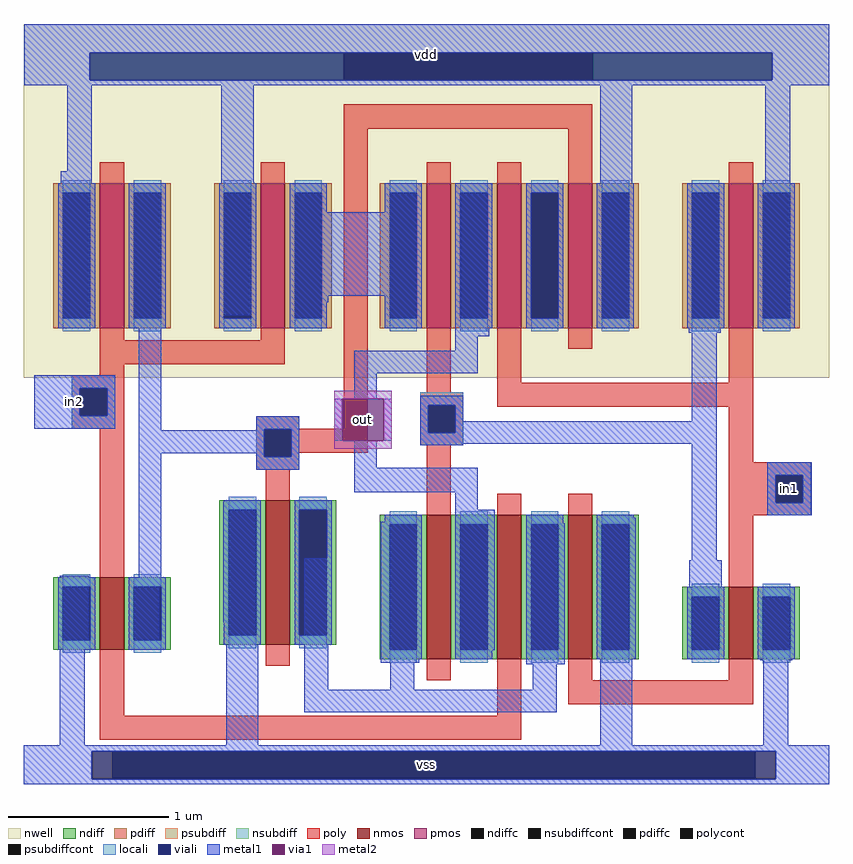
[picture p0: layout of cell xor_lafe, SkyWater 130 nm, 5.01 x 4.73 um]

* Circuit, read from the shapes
.subckt xor_lafe in1 in2 out vdd vss
XM1 n1 in2 vss vss sky130_fd_pr__nfet_01v8 w=0.45 l=0.15
XM2 n2 n1 vss vss sky130_fd_pr__nfet_01v8 w=0.9 l=0.15
XM3 out n3 n2 vss sky130_fd_pr__nfet_01v8 w=0.9 l=0.15
XM4 n2 in2 out vss sky130_fd_pr__nfet_01v8 w=0.9 l=0.15
XM5 vss in1 n2 vss sky130_fd_pr__nfet_01v8 w=0.9 l=0.15
XM6 vss in1 n3 vss sky130_fd_pr__nfet_01v8 w=0.45 l=0.15
XM7 n1 in2 vdd vdd sky130_fd_pr__pfet_01v8 w=0.9 l=0.15
XM8 n4 in2 vdd vdd sky130_fd_pr__pfet_01v8 w=0.9 l=0.15
XM9 out n3 n4 vdd sky130_fd_pr__pfet_01v8 w=0.9 l=0.15
XM10 n5 in1 out vdd sky130_fd_pr__pfet_01v8 w=0.9 l=0.15
XM11 vdd n1 n5 vdd sky130_fd_pr__pfet_01v8 w=0.9 l=0.15
XM12 vdd in1 n3 vdd sky130_fd_pr__pfet_01v8 w=0.9 l=0.15
.ends

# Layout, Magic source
magic
tech sky130A
magscale 1 2
<< nwell >>
rect -354 820 647 821
rect -355 384 647 820
rect -355 381 -354 384
rect -342 381 647 384
<< psubdiff >>
rect -269 -117 -245 -83
rect 555 -117 579 -83
<< nsubdiff >>
rect -273 751 43 785
rect 353 751 576 785
<< psubdiffcont >>
rect -245 -117 555 -83
<< nsubdiffcont >>
rect 43 751 353 785
<< poly >>
rect 43 691 352 721
rect -260 428 -230 649
rect -60 428 -30 649
rect -260 398 -30 428
rect -260 384 -230 398
rect -295 368 -230 384
rect -295 334 -285 368
rect -251 334 -230 368
rect -295 318 -230 334
rect -260 -39 -230 318
rect -66 318 -12 333
rect 43 318 73 691
rect 146 363 176 649
rect 234 375 264 649
rect 322 417 352 691
rect 522 375 552 649
rect -66 317 73 318
rect -66 283 -56 317
rect -22 288 73 317
rect 138 347 192 363
rect 138 313 148 347
rect 182 313 192 347
rect 234 345 552 375
rect 138 297 192 313
rect -22 283 -12 288
rect -66 267 -12 283
rect -54 23 -24 267
rect 146 5 176 297
rect 522 276 552 345
rect 522 260 624 276
rect 234 -39 264 237
rect 322 5 352 237
rect 522 226 580 260
rect 614 226 624 260
rect 522 210 624 226
rect 522 5 552 210
rect 322 -25 552 5
rect -260 -69 264 -39
<< polycont >>
rect -285 334 -251 368
rect -56 283 -22 317
rect 148 313 182 347
rect 580 226 614 260
<< locali >>
rect -295 368 -241 384
rect -295 334 -285 368
rect -251 334 -241 368
rect -295 318 -241 334
rect 138 347 192 363
rect -66 317 -12 333
rect -66 283 -56 317
rect -22 283 -12 317
rect 138 313 148 347
rect 182 313 192 347
rect 138 297 192 313
rect -66 267 -12 283
rect 570 260 624 276
rect 570 226 580 260
rect 614 226 624 260
rect 570 210 624 226
<< viali >>
rect -273 751 43 785
rect 43 751 353 785
rect 353 751 576 785
rect -285 334 -251 368
rect -56 283 -22 317
rect 148 313 182 347
rect 580 226 614 260
rect -270 -117 -245 -83
rect -245 -117 555 -83
rect 555 -117 580 -83
rect -270 -118 580 -117
<< metal1 >>
rect -354 785 647 821
rect -354 751 -273 785
rect 576 751 647 785
rect -354 745 647 751
rect -301 638 -270 745
rect -309 559 -270 638
rect -109 624 -69 745
rect -109 611 -68 624
rect -309 452 -271 559
rect -220 452 -180 611
rect -108 459 -68 611
rect -21 587 19 617
rect 99 587 139 619
rect -21 483 139 587
rect -21 475 24 483
rect 95 475 139 483
rect 187 481 227 621
rect 362 617 402 745
rect -21 452 19 475
rect 99 454 139 475
rect 184 456 227 481
rect 361 608 402 617
rect -223 446 -180 452
rect -223 445 -195 446
rect -223 443 -189 445
rect 184 443 224 456
rect 361 452 401 608
rect 471 485 511 622
rect 567 616 598 745
rect 471 457 512 485
rect -342 368 -241 384
rect -342 334 -285 368
rect -251 334 -241 368
rect -342 318 -241 334
rect -212 316 -184 443
rect 182 433 224 443
rect 472 437 512 457
rect 564 451 604 616
rect 182 415 210 433
rect 56 387 210 415
rect 56 355 84 387
rect -66 317 -12 333
rect -66 316 -56 317
rect -212 287 -56 316
rect -310 46 -274 135
rect -212 133 -184 287
rect -66 283 -56 287
rect -22 283 -12 317
rect 31 303 41 355
rect 93 303 103 355
rect 138 347 192 359
rect 138 313 148 347
rect 182 327 192 347
rect 476 327 507 437
rect 182 313 507 327
rect -66 267 -12 283
rect 56 269 84 303
rect 138 299 507 313
rect 138 297 192 299
rect 56 239 210 269
rect -217 132 -186 133
rect -310 -76 -279 46
rect -222 45 -186 132
rect -107 77 -61 227
rect 182 217 210 239
rect 182 211 231 217
rect -103 -76 -63 77
rect -6 -7 24 157
rect 89 27 137 202
rect 183 42 231 211
rect 101 -7 131 27
rect 270 25 318 200
rect 358 32 406 207
rect 476 154 507 299
rect 570 260 625 276
rect 570 226 580 260
rect 614 226 625 260
rect 570 210 625 226
rect 473 33 513 154
rect 278 -7 308 25
rect -6 -35 308 -7
rect 362 -76 402 32
rect 561 30 601 113
rect 565 -76 596 30
rect -355 -83 647 -76
rect -355 -118 -270 -83
rect 580 -118 647 -83
rect -355 -124 647 -118
<< via1 >>
rect 41 303 93 355
<< metal2 >>
rect 31 355 103 365
rect 31 303 41 355
rect 93 303 103 355
rect 31 293 103 303
use sky130_fd_pr__nfet_01v8_J836M4  sky130_fd_pr__nfet_01v8_J836M4_0
transform 1 0 -245 0 1 88
box -73 -71 73 71
use sky130_fd_pr__nfet_01v8_P8KVP3  sky130_fd_pr__nfet_01v8_P8KVP3_0
transform 1 0 -39 0 1 139
box -73 -116 73 116
use sky130_fd_pr__nfet_01v8_P8KVP3  sky130_fd_pr__nfet_01v8_P8KVP3_1
transform 1 0 161 0 1 121
box -73 -116 73 116
use sky130_fd_pr__nfet_01v8_P8KVP3  sky130_fd_pr__nfet_01v8_P8KVP3_2
transform 1 0 249 0 1 121
box -73 -116 73 116
use sky130_fd_pr__nfet_01v8_P8KVP3  sky130_fd_pr__nfet_01v8_P8KVP3_3
transform 1 0 337 0 1 121
box -73 -116 73 116
use sky130_fd_pr__nfet_01v8_J836M4  sky130_fd_pr__nfet_01v8_J836M4_1
transform 1 0 537 0 1 76
box -73 -71 73 71
use sky130_fd_pr__pfet_01v8_5AYHFE  sky130_fd_pr__pfet_01v8_5AYHFE_4
transform 1 0 -245 0 1 533
box -109 -152 109 152
use sky130_fd_pr__pfet_01v8_5AYHFE  sky130_fd_pr__pfet_01v8_5AYHFE_0
transform 1 0 -45 0 1 533
box -109 -152 109 152
use sky130_fd_pr__pfet_01v8_5AYHFE  sky130_fd_pr__pfet_01v8_5AYHFE_2
transform 1 0 249 0 1 533
box -109 -152 109 152
use sky130_fd_pr__pfet_01v8_5AYHFE  sky130_fd_pr__pfet_01v8_5AYHFE_1
transform 1 0 161 0 1 533
box -109 -152 109 152
use sky130_fd_pr__pfet_01v8_5AYHFE  sky130_fd_pr__pfet_01v8_5AYHFE_3
transform 1 0 337 0 1 533
box -109 -152 109 152
use sky130_fd_pr__pfet_01v8_5AYHFE  sky130_fd_pr__pfet_01v8_5AYHFE_5
transform 1 0 537 0 1 533
box -109 -152 109 152
<< labels >>
rlabel metal1 -354 -124 646 -76 1 vss
rlabel nwell -354 745 646 821 1 vdd
rlabel metal2 31 293 103 365 1 out
rlabel metal1 570 210 625 276 1 in1
rlabel metal1 -342 318 -241 384 1 in2
<< end >>

# cell sky130_fd_pr__nfet_01v8_J836M4: kit device sky130_fd_pr__nfet_01v8, w 0.45 l 0.150 m 1 nf 1 diffcov 100 polycov 100 guard 0 glc 0 grc 0 gtc 0 gbc 0 tbcov 100 rlcov 100 topc 0 botc 0 poverlap 0 doverlap 1 lmin 0.15 wmin 0.42 compatible {sky130_fd_pr__nfet_01v8 sky130_fd_pr__nfet_01v8_lvt sky130_fd_bs_flash__special_sonosfet_star sky130_fd_pr__nfet_g5v0d10v5 sky130_fd_pr__nfet_05v0_nvt} full_metal 0 viasrc 100 viadrn 100 viagate 100 viagb 0 viagr 0 viagl 0 viagt 0

# cell sky130_fd_pr__nfet_01v8_P8KVP3: kit device sky130_fd_pr__nfet_01v8, w 0.9 l 0.150 m 1 nf 1 diffcov 100 polycov 100 guard 0 glc 0 grc 0 gtc 0 gbc 0 tbcov 100 rlcov 100 topc 0 botc 0 poverlap 0 doverlap 1 lmin 0.15 wmin 0.42 compatible {sky130_fd_pr__nfet_01v8 sky130_fd_pr__nfet_01v8_lvt sky130_fd_bs_flash__special_sonosfet_star sky130_fd_pr__nfet_g5v0d10v5 sky130_fd_pr__nfet_05v0_nvt} full_metal 0 viasrc 100 viadrn 100 viagate 100 viagb 0 viagr 0 viagl 0 viagt 0

# cell sky130_fd_pr__pfet_01v8_5AYHFE: kit device sky130_fd_pr__pfet_01v8, w 0.9 l 0.15 m 1 nf 1 diffcov 100 polycov 100 guard 0 glc 0 grc 0 gtc 0 gbc 0 tbcov 100 rlcov 100 topc 0 botc 0 poverlap 0 doverlap 1 lmin 0.15 wmin 0.42 compatible {sky130_fd_pr__pfet_01v8 sky130_fd_pr__pfet_01v8_lvt sky130_fd_pr__pfet_01v8_hvt sky130_fd_pr__pfet_g5v0d10v5} full_metal 0 viasrc 100 viadrn 100 viagate 100 viagb 0 viagr 0 viagl 0 viagt 0
